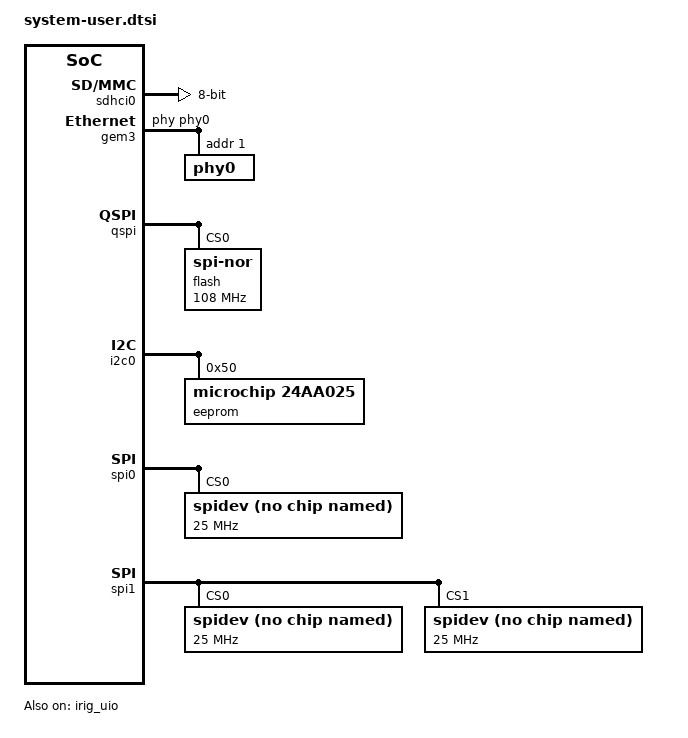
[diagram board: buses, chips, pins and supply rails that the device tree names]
/include/ "system-conf.dtsi"

/ {
/*------------------ PS-PL CLK --------------------*/
  fclk0: fclk0 {
    status = "okay";
    compatible = "xlnx,fclk";
    clocks = <&zynqmp_clk PL0_REF>;
    //clocks = <&zynqmp_clk 71>;
    clock-names = "pl_clk0";
  };
  /* PL1_REF (150 MHz) is the AD9913 DDS reference clock. Claim it so the
   * common-clock framework keeps it enabled; otherwise Linux gates it as an
   * unused clock at boot and the DDS sees no SYSCLK (PLL is bypassed), so it
   * outputs DC. u-boot leaves it running, which is why DDS bring-up works
   * from u-boot but not from Linux. */
  fclk1: fclk1 {
    status = "okay";
    compatible = "xlnx,fclk";
    clocks = <&zynqmp_clk PL1_REF>;
    clock-names = "pl_clk1";
  };
};

/*-------------------- SD0 eMMC ----------------*/
&sdhci0 {
    // 1.8V
    bus-width = <8>;
};


/*-------------------- SD1 sd2.0 ----------------*/
&sdhci1 {
    // 3.3V
    disable-wp;
    no-1-8-v;
};


/*-------------------- USB 2.0 disabled (no USB in XSA) ----------------*/
&usb0 {
    status = "disabled";
};

&dwc3_0 {
    status = "disabled";
};


/*------------------ ETH PHY --------------------*/
&gem3 {
    phy-handle = <&phy0>;

    nvmem-cells = <&eth0_addr>;
    nvmem-cell-names = "mac-address";

    //required otherwise petalinux gives a static address here
    /delete-property/ local-mac-address;

    phy0: phy0@1 {
        device_type = "ethernet-phy";
        reg = <1>;
    };
};


/*-------------------- QSPI ---------------------*/
&qspi {
    num-cs = <2>;

    flash@0 {
        compatible = "jedec,spi-nor";
        reg = <0>, <1>;
        parallel-memories = /bits/ 64 <0x10000000 0x10000000>;  
        /* 0x10000000 =  256MB dual as maximum; 
           this is a proprietary property from u-boot/linux-xlnx. it is used in u-boot and does work if it is larger than the connected qspi, even though the displayed size if wrong
           we implemented a linux patch that uses the size which is read back from the qspi itself
        */
        spi-rx-bus-width = <4>;
        spi-tx-bus-width = <4>;
        spi-max-frequency = <108000000>; // max. frequency also depends on the QSPI chip
                                         // here 108MHz for N25Q512A (Fast Read Quad IO STR, 8 Dummy Cycles, quad SPI protocol)

        #address-cells = <1>;
        #size-cells = <1>;
    };
};


/*------------------ I2C --------------------*/
&i2c0 {
    eeprom: eeprom@50 {
        compatible = "microchip,24aa025", "atmel,24c02";
        reg = <0x50>;
            
            #address-cells = <1>;
            #size-cells = <1>;
            eth0_addr: eth-mac-addr@FA {
              reg = <0xFA 0x06>;
            };
        };
};

/*
 * The OLED SPI interface is connected to PS MIO SPI0.
 *     - CS0 is OLED
 */
&spi0 {
    #address-cells=<1>;
    #size-cells=<0>;
    status = "okay";
    num-cs = <1>;
    //bus-num = <0>;        // may not be needed
    is-decoded-cs = <0>;

    spidev@0x00 {
        //compatible = "spidev";            // not in kernel allowlist, will not bind
        compatible = "rohm,dh2228fv";
        //compatible = "oled_mftr,oled_pn"; // NOTE: use this if specific oled driver is available

        /* Max SPI clock frequency via Zynq EMIO is 25MHz */
        spi-max-frequency = <25000000>;

        /* slave number - CS */
        reg = <0>;

        /* Set SPI mode = 0, adjust if necessary */
        spi-cpol = <0>;
        spi-cpha = <0>;
    };
};

/*
 * The clock device AD9913 is connected to PS SPI1 through EMIO through the PL.
 *     - CS0 is AD9913
 *     - CS1 is ???
 */
&spi1 {
    #address-cells=<1>;
    #size-cells=<0>;
    status = "okay";
    num-cs = <2>;
    //bus-num = <1>;        // may not be needed
    is-decoded-cs = <0>;

    spidev@0x00 {
        //compatible = "spidev";        // not in kernel allowlist, will not bind
        compatible = "rohm,dh2228fv";

        /* Max SPI clock frequency via Zynq EMIO is 25MHz */
        spi-max-frequency = <25000000>;

        /* slave number - CS */
        reg = <0>;

        /* Set SPI mode = 0, adjust if necessary */
        spi-cpol = <0>;
        spi-cpha = <0>;
    };

    spidev@0x01 {
        //compatible = "spidev";        // not in kernel allowlist, will not bind
        compatible = "rohm,dh2228fv";

        /* Max SPI clock frequency via Zynq EMIO is 25MHz */
        spi-max-frequency = <25000000>;

        /* slave number - CS */
        reg = <1>;

        /* Set SPI mode = 0, adjust if necessary */
        spi-cpol = <0>;
        spi-cpha = <0>;
    };
};

/ {
  dma_proxy_rx: dma_proxy_rx {
      compatible = "xlnx,dma_proxy";
      dmas = <&axi_dma_0 0>;        /* channel 0 = S2MM */
      dma-names = "dma_proxy_rx";
  };

  /*------------------ IRIG 1pps interrupt (PL -> PS) --------------------*/
  /* The PL IRIG block (in axi_reg32 at 0x80000000) raises an interrupt on each
   * one-second boundary. tangelo waits on it via UIO, reads IRIG_IN, and
   * disciplines the system clock. The node name embeds "irig" so tangelo's
   * resolveIrigUio() can match /sys/class/uio/uioN/name.
   *
   * The reg maps the same 0x80000000/0x10000 PL register window tangelo also
   * reaches through /dev/mem (both MAP_SHARED — no conflict); UIO here is used
   * for the interrupt delivery, not register access.
   *
   * Interrupt routing confirmed from the XSA (zusys_wrapper_20260619.hwh):
   * tm_intf_top_0/irig_irq -> ilconcat_0 In3 -> zynq_ultra_ps_e_0/pl_ps_irq0[3],
   * SENSITIVITY = LEVEL_HIGH. ZynqMP pl_ps_irq0[0..7] map to GIC SPI 89..96, so
   * bit 3 = SPI 92. Flags 4 = IRQ_TYPE_LEVEL_HIGH (matches the PL). */
  irig_uio: irig@80000000 {
      compatible = "generic-uio";
      reg = <0x0 0x80000000 0x0 0x10000>;
      interrupt-parent = <&gic>;
      interrupts = <0 92 4>;
      status = "okay";
  };
};

/*------------------ SYSMON --------------------*/
/* Disabled: the in-kernel xadc driver (xilinx-xadc-core.c) binds this node
 * and continuously samples its ADC/alarm registers at 0x80010000, which made
 * that range look like it was changing out from under tangelo when it
 * wasn't — tangelo's own PL window stops at 0x80000000/0x10000 and never
 * reaches this address. */
&system_management_wiz_0 {
    status = "disabled";
};

/*
 * Disable APU cores 2 and 3 to reduce static power/heat. Linux never issues a
 * PSCI CPU_ON for these, so the PMU firmware leaves them power-gated. Cores 0
 * (boot) and 1 remain online.
 *
 * The perf PMU node (/pmu in zynqmp.dtsi) lists all four cores in its
 * interrupt-affinity, so deleting cpu2/cpu3 would leave dangling phandles and
 * fail the dtc build. Override /pmu to reference only the surviving cores, and
 * trim its per-core SPI interrupt list (143..146 -> 143,144) to match.
 */
&{/pmu} {
    interrupts = <0 143 4>, <0 144 4>;
    interrupt-affinity = <&cpu0>, <&cpu1>;
};

/delete-node/ &cpu2;
/delete-node/ &cpu3;
